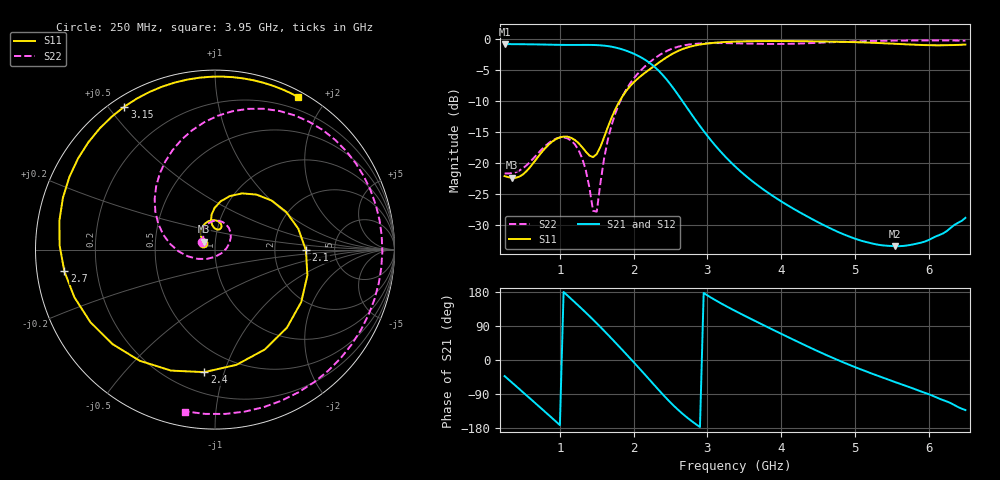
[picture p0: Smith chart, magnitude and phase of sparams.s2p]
! NobuRF pozar-ex8.6-stepped-lpf: ports 1 "p1", 2 "p2"; 26200 + 27500 steps
# GHz S RI R 50
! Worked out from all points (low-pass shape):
!   126 points, 250 MHz to 6.5 GHz, reference 50 ohm
!   highest |S21| = -0.77 dB at 250 MHz (marker M1); lowest = -33.4 dB at 5.55 GHz (marker M2)
!   |S21| within 3 dB of the highest: start of sweep to 2.213 GHz
!   lowest |S11| = -22.3 dB at 350 MHz (marker M3), VSWR 1.17, Z = 43.9 + j3.84 ohm
!   |S11| at or under -10 dB: start of sweep to 1.809 GHz
!   |S22| runs from -27.8 to -0.2 dB; largest |S21 - S12| = 0.0006
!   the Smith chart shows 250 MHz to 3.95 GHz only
!   S11 on the Smith chart (normalised r, x): 250 MHz: 0.87, +0.07; 2.1 GHz: 3.05, -0.03; 2.4 GHz: 0.33, -0.86; 2.7 GHz: 0.08, -0.07; 3.15 GHz: 0.04, +0.55; 3.95 GHz: 0.06, +1.67
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0.25  -0.0692 0.0377  0.674 -0.6185  0.674 -0.6185  -0.0718 0.0413
0.35  -0.0629 0.0434  0.4627 -0.7882  0.4627 -0.7882  -0.0659 0.0511
0.6  -0.0721 0.0601  -0.1957 -0.8896  -0.1956 -0.8896  -0.0665 0.079
0.9  -0.0636 0.1362  -0.8147 -0.3916  -0.8147 -0.3916  -0.0322 0.1495
1.1  -0.00309 0.164  -0.8883 0.147  -0.8883 0.147  0.044 0.1529
1.3  0.0366 0.1304  -0.6323 0.6414  -0.6323 0.6414  0.088 0.0671
1.5  -0.00217 0.1187  -0.1058 0.8914  -0.1058 0.8914  -0.00103 -0.0408
1.65  -0.0191 0.1948  0.3449 0.8109  0.3449 0.8109  -0.1502 -0.0379
1.85  0.1514 0.3132  0.7451 0.3604  0.7451 0.3604  -0.3162 0.144
2.1  0.5067 -0.00385  0.6371 -0.3248  0.6371 -0.3248  -0.2774 0.4902
2.35  0.1196 -0.6421  0.0842 -0.5438  0.0842 -0.5438  0.0145 0.7453
2.4  -0.0599 -0.6827  -0.016 -0.5111  -0.016 -0.5111  0.0962 0.7707
2.7  -0.8394 -0.1208  -0.2493 -0.1567  -0.2493 -0.1567  0.6022 0.665
3.15  -0.5048 0.7966  -0.1163 0.0584  -0.1163 0.0584  0.9322 -0.0114
3.4  -0.1543 0.9472  -0.0555 0.0729  -0.0555 0.0729  0.8137 -0.4467
3.95  0.4597 0.8522  0.0142 0.0496  0.0142 0.0496  -0.1645 -0.9021
4.45  0.8073 0.524  0.0308 0.0161  0.0308 0.0161  -0.9106 -0.2095
4.95  0.9492 0.0348  0.0245 -0.00639  0.0245 -0.00636  -0.7625 0.5827
5.5  0.6682 -0.6364  0.0124 -0.0176  0.0124 -0.0176  -0.2624 0.9386
5.55  0.6062 -0.6916  0.0112 -0.0183  0.0113 -0.0183  -0.2178 0.9508
6  -0.2164 -0.8702  -8.17e-06 -0.0241  -0.000149 -0.024  0.145 0.9676
6.5  -0.8973 -0.1321  -0.0243 -0.027  -0.0248 -0.0266  0.4681 0.8555
